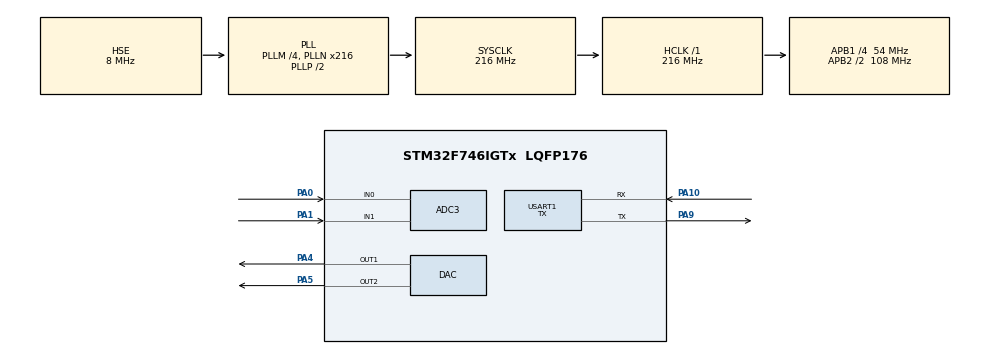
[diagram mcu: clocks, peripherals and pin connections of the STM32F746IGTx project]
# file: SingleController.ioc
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ADC3.Channel-0\#ChannelRegularConversion=ADC_CHANNEL_0
ADC3.Channel-1\#ChannelRegularConversion=ADC_CHANNEL_1
ADC3.ClockPrescaler=ADC_CLOCK_SYNC_PCLK_DIV4
ADC3.ContinuousConvMode=ENABLE
ADC3.DMAContinuousRequests=ENABLE
ADC3.InjNumberOfConversion=0
ADC3.NbrOfConversion=2
ADC3.NbrOfConversionFlag=1
ADC3.Rank-0\#ChannelRegularConversion=1
ADC3.Rank-1\#ChannelRegularConversion=2
ADC3.SamplingTime-0\#ChannelRegularConversion=ADC_SAMPLETIME_144CYCLES
ADC3.SamplingTime-1\#ChannelRegularConversion=ADC_SAMPLETIME_3CYCLES
Dma.ADC3.0.Direction=DMA_PERIPH_TO_MEMORY
Dma.ADC3.0.FIFOMode=DMA_FIFOMODE_DISABLE
Dma.ADC3.0.Instance=DMA2_Stream0
Dma.ADC3.0.MemDataAlignment=DMA_MDATAALIGN_WORD
Dma.ADC3.0.MemInc=DMA_MINC_ENABLE
Dma.ADC3.0.Mode=DMA_CIRCULAR
Dma.ADC3.0.PeriphDataAlignment=DMA_PDATAALIGN_WORD
Dma.ADC3.0.PeriphInc=DMA_PINC_DISABLE
Dma.ADC3.0.Priority=DMA_PRIORITY_LOW
Dma.Request0=ADC3
Mcu.Family=STM32F7
Mcu.Name=STM32F746IGTx
Mcu.Package=LQFP176
NVIC.ADC_IRQn=true\:3\:0\:true\:false\:true\:true\:true
NVIC.DMA2_Stream0_IRQn=true\:4\:0\:true\:false\:true\:false\:true
NVIC.PriorityGroup=NVIC_PRIORITYGROUP_4
NVIC.TIM2_IRQn=true\:1\:0\:true\:false\:true\:true\:true
NVIC.USART1_IRQn=true\:0\:0\:true\:false\:true\:true\:true
PA0/WKUP.Signal=ADCx_IN0
PA1.Signal=ADCx_IN1
PA10.Mode=Asynchronous
PA10.Signal=USART1_RX
PA4.Signal=COMP_DAC1_group
PA5.Signal=COMP_DAC2_group
PA9.Mode=Asynchronous
PA9.Signal=USART1_TX
PH0/OSC_IN.Mode=HSE-External-Oscillator
PH0/OSC_IN.Signal=RCC_OSC_IN
PH1/OSC_OUT.Mode=HSE-External-Oscillator
PH1/OSC_OUT.Signal=RCC_OSC_OUT
ProjectManager.HeapSize=0x40000
ProjectManager.StackSize=0x4000
ProjectManager.TargetToolchain=MDK-ARM V5
RCC.AHBFreq_Value=216000000
RCC.APB1CLKDivider=RCC_HCLK_DIV4
RCC.APB1Freq_Value=54000000
RCC.APB1TimFreq_Value=108000000
RCC.APB2CLKDivider=RCC_HCLK_DIV2
RCC.APB2Freq_Value=108000000
RCC.APB2TimFreq_Value=216000000
RCC.CortexFreq_Value=216000000
RCC.HCLKFreq_Value=216000000
RCC.HSE_VALUE=8000000
RCC.HSI_VALUE=16000000
RCC.LSE_VALUE=32768
RCC.PLLM=4
RCC.PLLN=216
RCC.PLLQ=9
RCC.PLLSourceVirtual=RCC_PLLSOURCE_HSE
RCC.SYSCLKFreq_VALUE=216000000
RCC.SYSCLKSource=RCC_SYSCLKSOURCE_PLLCLK
RCC.USBFreq_Value=48000000
RCC.VCOOutputFreq_Value=432000000
SH.ADCx_IN0.0=ADC3_IN0,IN0
SH.ADCx_IN1.0=ADC3_IN1,IN1
SH.COMP_DAC1_group.0=DAC_OUT1,DAC_OUT1
SH.COMP_DAC2_group.0=DAC_OUT2,DAC_OUT2
TIM2.Period=10800
TIM2.Prescaler=1000-1
TIM5.Period=0xffffffff
USART1.Mode=MODE_TX
USART1.VirtualMode-Asynchronous=VM_ASYNC
VP_RNG_VS_RNG.Mode=RNG_Activate
VP_TIM2_VS_ClockSourceINT.Mode=Internal
VP_TIM5_VS_ClockSourceINT.Mode=Internal
board=custom

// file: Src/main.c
/* USER CODE BEGIN Header */
/**
  ******************************************************************************
  * @file           : main.c
  * @brief          : Main program body
  ******************************************************************************
  * @attention
  *
  * <h2><center>&copy; Copyright (c) 2019 STMicroelectronics.
  * All rights reserved.</center></h2>
  *
  * This software component is licensed by ST under BSD 3-Clause license,
  * the "License"; You may not use this file except in compliance with the
  * License. You may obtain a copy of the License at:
  *                        opensource.org/licenses/BSD-3-Clause
  *
  ******************************************************************************
  */
/* USER CODE END Header */

#include "main.h"

/* USER CODE BEGIN Includes */
#include <string.h>
#include <stdio.h>

/* USER CODE END Includes */

/* USER CODE BEGIN PD */
#define ADC_SIZE 100
/* USER CODE END PD */

ADC_HandleTypeDef hadc3;
DMA_HandleTypeDef hdma_adc3;

DAC_HandleTypeDef hdac;

RNG_HandleTypeDef hrng;

TIM_HandleTypeDef htim2;
TIM_HandleTypeDef htim5;

UART_HandleTypeDef huart1;

/* USER CODE BEGIN PV */
uint32_t adc_val_raw[ADC_SIZE*2] = {0};
float adc_val_f[2] = {0,0};
float v[2] = {-1.0f, 1.0f};
/* USER CODE END PV */

void SystemClock_Config(void);
static void MX_GPIO_Init(void);
static void MX_DMA_Init(void);
static void MX_ADC3_Init(void);
static void MX_DAC_Init(void);
static void MX_TIM2_Init(void);
static void MX_TIM5_Init(void);
static void MX_USART1_UART_Init(void);
static void MX_RNG_Init(void);

/* USER CODE BEGIN 0 */
uint32_t random(void){
	static uint32_t rnd = 0;
	HAL_RNG_GenerateRandomNumber(&hrng, &rnd);
	return rnd;
}
void write_string(char * txt){
	while(HAL_UART_GetState(&huart1) == HAL_UART_STATE_BUSY_TX);
	if(HAL_UART_Transmit_IT(&huart1, (uint8_t*)txt, strlen(txt))!= HAL_OK)
		Error_Handler();
	while(HAL_UART_GetState(&huart1) == HAL_UART_STATE_BUSY_TX);
}

void HAL_ADC_ConvCpltCallback(ADC_HandleTypeDef* AdcHandle)
{
	static int i=0;
	static uint32_t tmpval[2] = {0,0};
	for(i=0,tmpval[0]=0,tmpval[1]=0;i<ADC_SIZE; ++i){
		tmpval[0] += adc_val_raw[2*i];
		tmpval[1] += adc_val_raw[2*i+1];
	}
	adc_val_f[0] = ((float)tmpval[0]/ADC_SIZE-2047.5f)/2047.5f;
	adc_val_f[1] = ((float)tmpval[1]/ADC_SIZE-2047.5f)/2047.5f;
}

void __setControlValue(float* value){ // we assume that this part is known at the design time
  HAL_DAC_SetValue(&hdac, DAC1_CHANNEL_1,DAC_ALIGN_12B_R, (uint32_t)(value[0]*2047.5f+2047.5f));
  HAL_DAC_SetValue(&hdac, DAC1_CHANNEL_2,DAC_ALIGN_12B_R, (uint32_t)(value[1]*2047.5f+2047.5f));
}
float* __measureOutput(){
	return adc_val_f;
}

/* USER CODE END 0 */

int low_lvl_main(void)
{

  /* MCU Configuration--------------------------------------------------------*/

  /* Reset of all peripherals, Initializes the Flash interface and the Systick. */
  HAL_Init();

  /* Configure the system clock */
  SystemClock_Config();

  /* Initialize all configured peripherals */
  MX_GPIO_Init();
  MX_DMA_Init();
  MX_ADC3_Init();
  MX_DAC_Init();
  MX_TIM2_Init();
  MX_TIM5_Init();
  MX_USART1_UART_Init();
  MX_RNG_Init();
  /* USER CODE BEGIN 2 */

  HAL_ADC_Start(&hadc3);
	if(HAL_ADC_Start_DMA(&hadc3, (uint32_t*)adc_val_raw, ADC_SIZE*2) != HAL_OK) Error_Handler();

	HAL_DAC_Start(&hdac, DAC_CHANNEL_1);
	HAL_DAC_Start(&hdac, DAC_CHANNEL_2);

	HAL_TIM_Base_Init(&htim2);     // Init timer
	HAL_TIM_Base_Start_IT(&htim2); // start timer interrupts
  /* USER CODE END 2 */

  /* Infinite loop */
  /* USER CODE BEGIN WHILE */
//  while (1)
//  {
		//char txt[100] = {0};
		//sprintf(txt,"%f %f\n\r",adc_val_f[0],adc_val_f[1]);
		//write_string(txt);
		//__setControlValue((float*)v);
		//HAL_Delay(100);

    /* USER CODE END WHILE */

    /* USER CODE BEGIN 3 */
//  }
  /* USER CODE END 3 */
	return 0;
}

void SystemClock_Config(void)
{
  RCC_OscInitTypeDef RCC_OscInitStruct = {0};
  RCC_ClkInitTypeDef RCC_ClkInitStruct = {0};
  RCC_PeriphCLKInitTypeDef PeriphClkInitStruct = {0};

  /** Configure the main internal regulator output voltage
  */
  __HAL_RCC_PWR_CLK_ENABLE();
  __HAL_PWR_VOLTAGESCALING_CONFIG(PWR_REGULATOR_VOLTAGE_SCALE1);
  /** Initializes the CPU, AHB and APB busses clocks
  */
  RCC_OscInitStruct.OscillatorType = RCC_OSCILLATORTYPE_HSE;
  RCC_OscInitStruct.HSEState = RCC_HSE_ON;
  RCC_OscInitStruct.PLL.PLLState = RCC_PLL_ON;
  RCC_OscInitStruct.PLL.PLLSource = RCC_PLLSOURCE_HSE;
  RCC_OscInitStruct.PLL.PLLM = 4;
  RCC_OscInitStruct.PLL.PLLN = 216;
  RCC_OscInitStruct.PLL.PLLP = RCC_PLLP_DIV2;
  RCC_OscInitStruct.PLL.PLLQ = 9;
  if (HAL_RCC_OscConfig(&RCC_OscInitStruct) != HAL_OK)
  {
    Error_Handler();
  }
  /** Activate the Over-Drive mode
  */
  if (HAL_PWREx_EnableOverDrive() != HAL_OK)
  {
    Error_Handler();
  }
  /** Initializes the CPU, AHB and APB busses clocks
  */
  RCC_ClkInitStruct.ClockType = RCC_CLOCKTYPE_HCLK|RCC_CLOCKTYPE_SYSCLK
                              |RCC_CLOCKTYPE_PCLK1|RCC_CLOCKTYPE_PCLK2;
  RCC_ClkInitStruct.SYSCLKSource = RCC_SYSCLKSOURCE_PLLCLK;
  RCC_ClkInitStruct.AHBCLKDivider = RCC_SYSCLK_DIV1;
  RCC_ClkInitStruct.APB1CLKDivider = RCC_HCLK_DIV4;
  RCC_ClkInitStruct.APB2CLKDivider = RCC_HCLK_DIV2;

  if (HAL_RCC_ClockConfig(&RCC_ClkInitStruct, FLASH_LATENCY_7) != HAL_OK)
  {
    Error_Handler();
  }
  PeriphClkInitStruct.PeriphClockSelection = RCC_PERIPHCLK_USART1|RCC_PERIPHCLK_CLK48;
  PeriphClkInitStruct.Usart1ClockSelection = RCC_USART1CLKSOURCE_PCLK2;
  PeriphClkInitStruct.Clk48ClockSelection = RCC_CLK48SOURCE_PLL;
  if (HAL_RCCEx_PeriphCLKConfig(&PeriphClkInitStruct) != HAL_OK)
  {
    Error_Handler();
  }
}

static void MX_ADC3_Init(void)
{

  ADC_ChannelConfTypeDef sConfig = {0};

  /** Configure the global features of the ADC (Clock, Resolution, Data Alignment and number of conversion)
  */
  hadc3.Instance = ADC3;
  hadc3.Init.ClockPrescaler = ADC_CLOCK_SYNC_PCLK_DIV4;
  hadc3.Init.Resolution = ADC_RESOLUTION_12B;
  hadc3.Init.ScanConvMode = ENABLE;
  hadc3.Init.ContinuousConvMode = ENABLE;
  hadc3.Init.DiscontinuousConvMode = DISABLE;
  hadc3.Init.ExternalTrigConvEdge = ADC_EXTERNALTRIGCONVEDGE_NONE;
  hadc3.Init.ExternalTrigConv = ADC_SOFTWARE_START;
  hadc3.Init.DataAlign = ADC_DATAALIGN_RIGHT;
  hadc3.Init.NbrOfConversion = 2;
  hadc3.Init.DMAContinuousRequests = ENABLE;
  hadc3.Init.EOCSelection = ADC_EOC_SINGLE_CONV;
  if (HAL_ADC_Init(&hadc3) != HAL_OK)
  {
    Error_Handler();
  }
  /** Configure for the selected ADC regular channel its corresponding rank in the sequencer and its sample time.
  */
  sConfig.Channel = ADC_CHANNEL_0;
  sConfig.Rank = ADC_REGULAR_RANK_1;
  sConfig.SamplingTime = ADC_SAMPLETIME_144CYCLES;
  if (HAL_ADC_ConfigChannel(&hadc3, &sConfig) != HAL_OK)
  {
    Error_Handler();
  }
  /** Configure for the selected ADC regular channel its corresponding rank in the sequencer and its sample time.
  */
  sConfig.Channel = ADC_CHANNEL_1;
  sConfig.Rank = ADC_REGULAR_RANK_2;
  sConfig.SamplingTime = ADC_SAMPLETIME_3CYCLES;
  if (HAL_ADC_ConfigChannel(&hadc3, &sConfig) != HAL_OK)
  {
    Error_Handler();
  }

}

static void MX_DAC_Init(void)
{

  DAC_ChannelConfTypeDef sConfig = {0};

  /** DAC Initialization
  */
  hdac.Instance = DAC;
  if (HAL_DAC_Init(&hdac) != HAL_OK)
  {
    Error_Handler();
  }
  /** DAC channel OUT1 config
  */
  sConfig.DAC_Trigger = DAC_TRIGGER_NONE;
  sConfig.DAC_OutputBuffer = DAC_OUTPUTBUFFER_ENABLE;
  if (HAL_DAC_ConfigChannel(&hdac, &sConfig, DAC_CHANNEL_1) != HAL_OK)
  {
    Error_Handler();
  }
  /** DAC channel OUT2 config
  */
  if (HAL_DAC_ConfigChannel(&hdac, &sConfig, DAC_CHANNEL_2) != HAL_OK)
  {
    Error_Handler();
  }

}

static void MX_RNG_Init(void)
{

  hrng.Instance = RNG;
  if (HAL_RNG_Init(&hrng) != HAL_OK)
  {
    Error_Handler();
  }

}

static void MX_TIM2_Init(void)
{

  TIM_ClockConfigTypeDef sClockSourceConfig = {0};
  TIM_MasterConfigTypeDef sMasterConfig = {0};

  htim2.Instance = TIM2;
  htim2.Init.Prescaler = 1000-1;
  htim2.Init.CounterMode = TIM_COUNTERMODE_UP;
  htim2.Init.Period = 10800;
  htim2.Init.ClockDivision = TIM_CLOCKDIVISION_DIV1;
  htim2.Init.AutoReloadPreload = TIM_AUTORELOAD_PRELOAD_DISABLE;
  if (HAL_TIM_Base_Init(&htim2) != HAL_OK)
  {
    Error_Handler();
  }
  sClockSourceConfig.ClockSource = TIM_CLOCKSOURCE_INTERNAL;
  if (HAL_TIM_ConfigClockSource(&htim2, &sClockSourceConfig) != HAL_OK)
  {
    Error_Handler();
  }
  sMasterConfig.MasterOutputTrigger = TIM_TRGO_RESET;
  sMasterConfig.MasterSlaveMode = TIM_MASTERSLAVEMODE_DISABLE;
  if (HAL_TIMEx_MasterConfigSynchronization(&htim2, &sMasterConfig) != HAL_OK)
  {
    Error_Handler();
  }

}

static void MX_TIM5_Init(void)
{

  TIM_ClockConfigTypeDef sClockSourceConfig = {0};
  TIM_MasterConfigTypeDef sMasterConfig = {0};

  htim5.Instance = TIM5;
  htim5.Init.Prescaler = 0;
  htim5.Init.CounterMode = TIM_COUNTERMODE_UP;
  htim5.Init.Period = 0xffffffff;
  htim5.Init.ClockDivision = TIM_CLOCKDIVISION_DIV1;
  htim5.Init.AutoReloadPreload = TIM_AUTORELOAD_PRELOAD_DISABLE;
  if (HAL_TIM_Base_Init(&htim5) != HAL_OK)
  {
    Error_Handler();
  }
  sClockSourceConfig.ClockSource = TIM_CLOCKSOURCE_INTERNAL;
  if (HAL_TIM_ConfigClockSource(&htim5, &sClockSourceConfig) != HAL_OK)
  {
    Error_Handler();
  }
  sMasterConfig.MasterOutputTrigger = TIM_TRGO_RESET;
  sMasterConfig.MasterSlaveMode = TIM_MASTERSLAVEMODE_DISABLE;
  if (HAL_TIMEx_MasterConfigSynchronization(&htim5, &sMasterConfig) != HAL_OK)
  {
    Error_Handler();
  }

}

static void MX_USART1_UART_Init(void)
{

  huart1.Instance = USART1;
  huart1.Init.BaudRate = 115200;
  huart1.Init.WordLength = UART_WORDLENGTH_8B;
  huart1.Init.StopBits = UART_STOPBITS_1;
  huart1.Init.Parity = UART_PARITY_NONE;
  huart1.Init.Mode = UART_MODE_TX;
  huart1.Init.HwFlowCtl = UART_HWCONTROL_NONE;
  huart1.Init.OverSampling = UART_OVERSAMPLING_16;
  huart1.Init.OneBitSampling = UART_ONE_BIT_SAMPLE_DISABLE;
  huart1.AdvancedInit.AdvFeatureInit = UART_ADVFEATURE_NO_INIT;
  if (HAL_UART_Init(&huart1) != HAL_OK)
  {
    Error_Handler();
  }

}

static void MX_DMA_Init(void)
{
  /* DMA controller clock enable */
  __HAL_RCC_DMA2_CLK_ENABLE();

  /* DMA interrupt init */
  /* DMA2_Stream0_IRQn interrupt configuration */
  HAL_NVIC_SetPriority(DMA2_Stream0_IRQn, 4, 0);
  HAL_NVIC_EnableIRQ(DMA2_Stream0_IRQn);

}

static void MX_GPIO_Init(void)
{

  /* GPIO Ports Clock Enable */
  __HAL_RCC_GPIOH_CLK_ENABLE();
  __HAL_RCC_GPIOA_CLK_ENABLE();

}

void Error_Handler(void)
{
}

/************************ (C) COPYRIGHT STMicroelectronics *****END OF FILE****/
